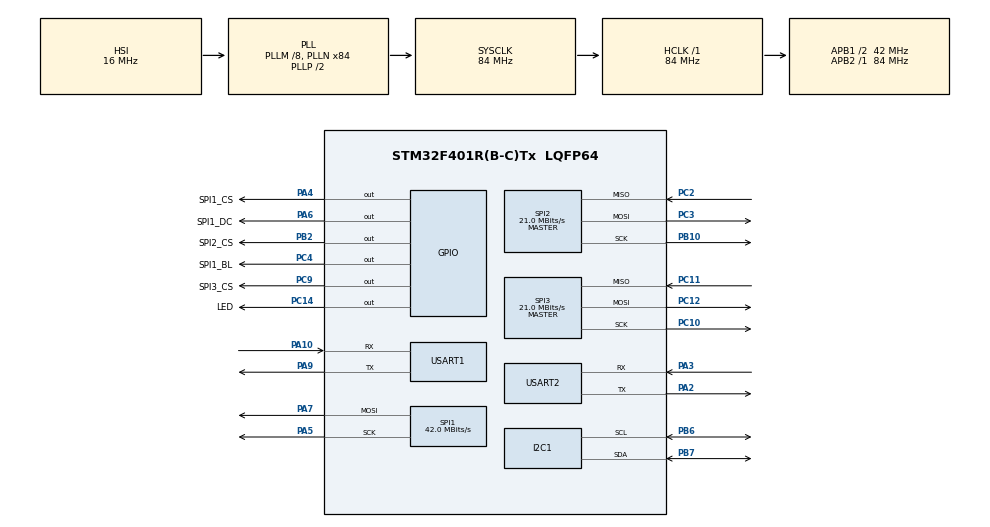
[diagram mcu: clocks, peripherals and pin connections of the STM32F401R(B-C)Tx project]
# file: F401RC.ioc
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Dma.I2C1_TX.2.Direction=DMA_MEMORY_TO_PERIPH
Dma.I2C1_TX.2.FIFOMode=DMA_FIFOMODE_DISABLE
Dma.I2C1_TX.2.Instance=DMA1_Stream6
Dma.I2C1_TX.2.MemDataAlignment=DMA_MDATAALIGN_BYTE
Dma.I2C1_TX.2.MemInc=DMA_MINC_ENABLE
Dma.I2C1_TX.2.Mode=DMA_NORMAL
Dma.I2C1_TX.2.PeriphDataAlignment=DMA_PDATAALIGN_BYTE
Dma.I2C1_TX.2.PeriphInc=DMA_PINC_DISABLE
Dma.I2C1_TX.2.Priority=DMA_PRIORITY_LOW
Dma.Request0=USART2_RX
Dma.Request1=USART1_TX
Dma.Request2=I2C1_TX
Dma.Request3=SPI1_TX
Dma.Request4=SPI3_RX
Dma.Request5=SPI3_TX
Dma.SPI1_TX.3.Direction=DMA_MEMORY_TO_PERIPH
Dma.SPI1_TX.3.FIFOMode=DMA_FIFOMODE_DISABLE
Dma.SPI1_TX.3.Instance=DMA2_Stream3
Dma.SPI1_TX.3.MemDataAlignment=DMA_MDATAALIGN_BYTE
Dma.SPI1_TX.3.MemInc=DMA_MINC_ENABLE
Dma.SPI1_TX.3.Mode=DMA_NORMAL
Dma.SPI1_TX.3.PeriphDataAlignment=DMA_PDATAALIGN_BYTE
Dma.SPI1_TX.3.PeriphInc=DMA_PINC_DISABLE
Dma.SPI1_TX.3.Priority=DMA_PRIORITY_LOW
Dma.SPI3_RX.4.Direction=DMA_PERIPH_TO_MEMORY
Dma.SPI3_RX.4.FIFOMode=DMA_FIFOMODE_DISABLE
Dma.SPI3_RX.4.Instance=DMA1_Stream0
Dma.SPI3_RX.4.MemDataAlignment=DMA_MDATAALIGN_BYTE
Dma.SPI3_RX.4.MemInc=DMA_MINC_ENABLE
Dma.SPI3_RX.4.Mode=DMA_NORMAL
Dma.SPI3_RX.4.PeriphDataAlignment=DMA_PDATAALIGN_BYTE
Dma.SPI3_RX.4.PeriphInc=DMA_PINC_DISABLE
Dma.SPI3_RX.4.Priority=DMA_PRIORITY_LOW
Dma.SPI3_TX.5.Direction=DMA_MEMORY_TO_PERIPH
Dma.SPI3_TX.5.FIFOMode=DMA_FIFOMODE_DISABLE
Dma.SPI3_TX.5.Instance=DMA1_Stream7
Dma.SPI3_TX.5.MemDataAlignment=DMA_MDATAALIGN_BYTE
Dma.SPI3_TX.5.MemInc=DMA_MINC_ENABLE
Dma.SPI3_TX.5.Mode=DMA_NORMAL
Dma.SPI3_TX.5.PeriphDataAlignment=DMA_PDATAALIGN_BYTE
Dma.SPI3_TX.5.PeriphInc=DMA_PINC_DISABLE
Dma.SPI3_TX.5.Priority=DMA_PRIORITY_LOW
Dma.USART1_TX.1.Direction=DMA_MEMORY_TO_PERIPH
Dma.USART1_TX.1.FIFOMode=DMA_FIFOMODE_DISABLE
Dma.USART1_TX.1.Instance=DMA2_Stream7
Dma.USART1_TX.1.MemDataAlignment=DMA_MDATAALIGN_BYTE
Dma.USART1_TX.1.MemInc=DMA_MINC_ENABLE
Dma.USART1_TX.1.Mode=DMA_NORMAL
Dma.USART1_TX.1.PeriphDataAlignment=DMA_PDATAALIGN_BYTE
Dma.USART1_TX.1.PeriphInc=DMA_PINC_DISABLE
Dma.USART1_TX.1.Priority=DMA_PRIORITY_LOW
Dma.USART2_RX.0.Direction=DMA_PERIPH_TO_MEMORY
Dma.USART2_RX.0.FIFOMode=DMA_FIFOMODE_DISABLE
Dma.USART2_RX.0.Instance=DMA1_Stream5
Dma.USART2_RX.0.MemDataAlignment=DMA_MDATAALIGN_BYTE
Dma.USART2_RX.0.MemInc=DMA_MINC_ENABLE
Dma.USART2_RX.0.Mode=DMA_NORMAL
Dma.USART2_RX.0.PeriphDataAlignment=DMA_PDATAALIGN_BYTE
Dma.USART2_RX.0.PeriphInc=DMA_PINC_DISABLE
Dma.USART2_RX.0.Priority=DMA_PRIORITY_LOW
Mcu.Family=STM32F4
Mcu.Name=STM32F401R(B-C)Tx
Mcu.Package=LQFP64
NVIC.DMA1_Stream0_IRQn=true\:0\:0\:false\:false\:true\:false\:true\:true
NVIC.DMA1_Stream5_IRQn=true\:0\:0\:false\:false\:true\:false\:true\:true
NVIC.DMA1_Stream6_IRQn=true\:0\:0\:false\:false\:true\:false\:true\:true
NVIC.DMA1_Stream7_IRQn=true\:0\:0\:false\:false\:true\:false\:true\:true
NVIC.DMA2_Stream3_IRQn=true\:0\:0\:false\:false\:true\:false\:true\:true
NVIC.DMA2_Stream7_IRQn=true\:0\:0\:false\:false\:true\:false\:true\:true
NVIC.I2C1_EV_IRQn=true\:0\:0\:false\:false\:true\:true\:true\:true
NVIC.PriorityGroup=NVIC_PRIORITYGROUP_4
NVIC.SPI1_IRQn=true\:0\:0\:false\:false\:true\:true\:true\:true
NVIC.TIM1_TRG_COM_TIM11_IRQn=true\:0\:0\:false\:false\:true\:true\:true\:true
NVIC.USART1_IRQn=true\:1\:0\:true\:false\:true\:true\:true\:true
NVIC.USART2_IRQn=true\:0\:0\:false\:false\:true\:true\:true\:true
PA10.Mode=Asynchronous
PA10.Signal=USART1_RX
PA13.Mode=Serial_Wire
PA13.Signal=SYS_JTMS-SWDIO
PA14.Mode=Serial_Wire
PA14.Signal=SYS_JTCK-SWCLK
PA2.Mode=Asynchronous
PA2.Signal=USART2_TX
PA3.Mode=Asynchronous
PA3.Signal=USART2_RX
PA4.GPIO_Label=SPI1_CS
PA4.GPIO_PuPd=GPIO_PULLUP
PA4.GPIO_Speed=GPIO_SPEED_FREQ_VERY_HIGH
PA4.PinState=GPIO_PIN_SET
PA4.Signal=GPIO_Output
PA5.Mode=TX_Only_Simplex_Unidirect_Master
PA5.Signal=SPI1_SCK
PA6.GPIO_Label=SPI1_DC
PA6.GPIO_PuPd=GPIO_PULLUP
PA6.GPIO_Speed=GPIO_SPEED_FREQ_VERY_HIGH
PA6.PinState=GPIO_PIN_SET
PA6.Signal=GPIO_Output
PA7.Mode=TX_Only_Simplex_Unidirect_Master
PA7.Signal=SPI1_MOSI
PA9.Mode=Asynchronous
PA9.Signal=USART1_TX
PB10.Mode=Full_Duplex_Master
PB10.Signal=SPI2_SCK
PB2.GPIO_Label=SPI2_CS
PB2.GPIO_PuPd=GPIO_PULLUP
PB2.GPIO_Speed=GPIO_SPEED_FREQ_HIGH
PB2.PinState=GPIO_PIN_SET
PB2.Signal=GPIO_Output
PB6.Mode=I2C
PB6.Signal=I2C1_SCL
PB7.Mode=I2C
PB7.Signal=I2C1_SDA
PC10.Mode=Full_Duplex_Master
PC10.Signal=SPI3_SCK
PC11.Mode=Full_Duplex_Master
PC11.Signal=SPI3_MISO
PC12.Mode=Full_Duplex_Master
PC12.Signal=SPI3_MOSI
PC14-OSC32_IN.GPIO_Label=LED
PC14-OSC32_IN.GPIO_PuPd=GPIO_PULLUP
PC14-OSC32_IN.PinState=GPIO_PIN_RESET
PC14-OSC32_IN.Signal=GPIO_Output
PC2.Mode=Full_Duplex_Master
PC2.Signal=SPI2_MISO
PC3.Mode=Full_Duplex_Master
PC3.Signal=SPI2_MOSI
PC4.GPIO_Label=SPI1_BL
PC4.GPIO_PuPd=GPIO_PULLUP
PC4.GPIO_Speed=GPIO_SPEED_FREQ_VERY_HIGH
PC4.PinState=GPIO_PIN_SET
PC4.Signal=GPIO_Output
PC9.GPIO_Label=SPI3_CS
PC9.GPIO_PuPd=GPIO_PULLUP
PC9.GPIO_Speed=GPIO_SPEED_FREQ_HIGH
PC9.PinState=GPIO_PIN_SET
PC9.Signal=GPIO_Output
ProjectManager.HeapSize=0x2000
ProjectManager.StackSize=0x4000
ProjectManager.TargetToolchain=MDK-ARM V5.32
RCC.48MHZClocksFreq_Value=42000000
RCC.AHBFreq_Value=84000000
RCC.APB1CLKDivider=RCC_HCLK_DIV2
RCC.APB1Freq_Value=42000000
RCC.APB1TimFreq_Value=84000000
RCC.APB2Freq_Value=84000000
RCC.APB2TimFreq_Value=84000000
RCC.CortexFreq_Value=84000000
RCC.HCLKFreq_Value=84000000
RCC.HSE_VALUE=25000000
RCC.HSI_VALUE=16000000
RCC.LSE_VALUE=32768
RCC.PLLM=8
RCC.PLLN=84
RCC.SYSCLKFreq_VALUE=84000000
RCC.SYSCLKSource=RCC_SYSCLKSOURCE_PLLCLK
RCC.VCOOutputFreq_Value=168000000
SPI1.BaudRatePrescaler=SPI_BAUDRATEPRESCALER_2
SPI1.CalculateBaudRate=42.0 MBits/s
SPI1.Direction=SPI_DIRECTION_2LINES
SPI1.Mode=SPI_MODE_MASTER
SPI1.VirtualType=VM_MASTER
SPI2.BaudRatePrescaler=SPI_BAUDRATEPRESCALER_2
SPI2.CalculateBaudRate=21.0 MBits/s
SPI2.Direction=SPI_DIRECTION_2LINES
SPI2.Mode=SPI_MODE_MASTER
SPI2.VirtualType=VM_MASTER
SPI3.CalculateBaudRate=21.0 MBits/s
SPI3.Direction=SPI_DIRECTION_2LINES
SPI3.Mode=SPI_MODE_MASTER
SPI3.VirtualType=VM_MASTER
TIM11.AutoReloadPreload=TIM_AUTORELOAD_PRELOAD_ENABLE
TIM11.Period=10-1
TIM11.Prescaler=8400-1
USART1.VirtualMode=VM_ASYNC
USART2.VirtualMode=VM_ASYNC
VP_TIM11_VS_ClockSourceINT.Mode=Enable_Timer
board=custom

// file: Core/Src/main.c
/* USER CODE BEGIN Header */
/**
 ******************************************************************************
 * @file           : main.c
 * @brief          : Main program body
 ******************************************************************************
 * @attention
 *
 * Copyright (c) 2025 STMicroelectronics.
 * All rights reserved.
 *
 * This software is licensed under terms that can be found in the LICENSE file
 * in the root directory of this software component.
 * If no LICENSE file comes with this software, it is provided AS-IS.
 *
 ******************************************************************************
 */
/* USER CODE END Header */
#include "main.h"
#include "dma.h"
#include "i2c.h"
#include "spi.h"
#include "tim.h"
#include "usart.h"
#include "gpio.h"

/* USER CODE BEGIN Includes */
#include <stdio.h>
#include "Usart_Idel_Config.h"
#include "W25Qxx.h"
//#include "ssd1306.h"
#include "st7789.h"
#include "multi_button.h"

/* USER CODE END Includes */

/* USER CODE BEGIN PTD */
//内存
//$K\keil5_disp_size_bar.exe
/* USER CODE END PTD */

/* USER CODE BEGIN PD */
//extern const unsigned char gImage_image[153608];
/* USER CODE END PD */

void SystemClock_Config(void);

/* USER CODE BEGIN 0 */

#define len 512
uint8_t temp[len]={0};
void W25Q32_Show_On_LCD_DMA(uint16_t x, uint16_t y, uint16_t w, uint16_t h, uint32_t Address)
{
    Address=Address+8;
    uint32_t current_addr = Address;

    uint32_t total_bytes = w * h * 2;  // RGB565格式总字节数
    uint32_t remaining = total_bytes;

    ST7789_SetAddressWindow(x, y, x + w-1, y + h-1);

    HAL_GPIO_WritePin(ST7789_CS_PORT, ST7789_CS_PIN, GPIO_PIN_RESET);
    HAL_GPIO_WritePin(ST7789_DC_PORT, ST7789_DC_PIN, GPIO_PIN_SET);

    W25Qxx_CS_Low();
    W25Qxx_SPI_RW_Byte(0x03); // 发送读取命令

    if (W25Qxx_Address_Len == 32)
        W25Qxx_SPI_RW_Byte((Address & 0xFF000000) >> 24); // 32位地址处理

    W25Qxx_SPI_RW_Byte((Address & 0x00FF0000) >> 16); // 发送地址高位
    W25Qxx_SPI_RW_Byte((Address & 0x0000FF00) >> 8);  // 发送地址中位
    W25Qxx_SPI_RW_Byte((Address & 0x000000FF) >> 0);  // 发送地址低位

    while (remaining > 0)
    {
        dma_recv_complete = 0;
        uint16_t read_size = (remaining > len) ? len : remaining;
        HAL_SPI_Receive_DMA(&hspi3,temp,read_size);
        // 等待DMA传输完成
        while (!dma_recv_complete);
        dma_recv_complete = 0;

        //ST7789_Write_Datas(temp, read_size);

        dma_transfer_complete = 0;
        HAL_SPI_Transmit_DMA(&ST7789_SPI_PORT, temp, read_size);

        // 等待DMA传输完成
        while (!dma_transfer_complete);
        dma_transfer_complete = 0;

        // 更新地址和剩余长度
        current_addr += read_size;
        remaining -= read_size;

    }

    W25Qxx_CS_Hight();
    HAL_GPIO_WritePin(ST7789_CS_PORT, ST7789_CS_PIN, GPIO_PIN_SET);
}

/**
 * @brief 从W25Q32读取指定区域数据并显示到ST7789 LCD指定位置
 * @param x: LCD显示起始X坐标
 * @param y: LCD显示起始Y坐标
 * @param w: 显示宽度
 * @param h: 显示高度
 * @param addr: W25Q32数据起始地址
 * @note RGB565格式(2字节/像素),每次读取256字节(128像素)
 */
void W25Q32_Show_On_LCD(uint16_t x, uint16_t y, uint16_t w, uint16_t h, uint32_t addr)
{
  #define  READ_SIZE 256
    uint8_t read_buf[READ_SIZE];
    uint32_t total_bytes = w * h * 2;  // RGB565格式总字节数
    uint32_t remaining = total_bytes;
    addr=addr+8;
    uint32_t current_addr = addr;

    // 参数有效性检查
    if (w == 0 || h == 0 ||
        x + w > ST7789_WIDTH ||
        y + h > ST7789_HEIGHT ||
        current_addr + total_bytes > 0x400000)  // W25Q32总容量4MB
        return;

    // 设置LCD显示窗口
    ST7789_SetAddressWindow(x, y, x + w - 1, y + h - 1);

    while (remaining > 0)
    {
        uint16_t read_size = (remaining > READ_SIZE) ? READ_SIZE : remaining;

        // 从W25Q32读取数据
        W25Qxx_Read_Data_P256(current_addr, read_buf, read_size);

        // DMA传输到LCD
        ST7789_Write_Datas(read_buf, read_size);

        // 更新地址和剩余长度
        current_addr += read_size;
        remaining -= read_size;

        // 等待DMA传输完成
        while (!dma_transfer_complete);
        dma_transfer_complete = 0;
    }
}

/* USER CODE END 0 */

int main(void)
{

  /* MCU Configuration--------------------------------------------------------*/

  /* Reset of all peripherals, Initializes the Flash interface and the Systick. */
  HAL_Init();

  /* Configure the system clock */
  SystemClock_Config();

  /* Initialize all configured peripherals */
  MX_GPIO_Init();
  MX_DMA_Init();
  MX_USART1_UART_Init();
  MX_USART2_UART_Init();
  MX_I2C1_Init();
  MX_SPI2_Init();
  MX_SPI3_Init();
  MX_SPI1_Init();
  MX_TIM11_Init();
  /* USER CODE BEGIN 2 */
  Usart2_Idel_Config();
  HAL_TIM_Base_Start_IT(&htim11);

//    ssd1306_Init();
//    ssd1306_FlipScreenVertically();
//    ssd1306_Clear();
//    ssd1306_SetColor(White);
//
//    ssd1306_SetCursor(0, 0);
//    ssd1306_WriteString("HELLO", Font_16x26);
//    ssd1306_UpdateScreen();

//  W25Qxx_Sector_Erase(0x000000);
//  W25Qxx_Wait_Free();
//  for(uint16_t i=0;i<256;i++)
//        p[i]=i;
//
//  W25Qxx_Write_Page(0x000000,p,256);
//  W25Qxx_Wait_Free();
//  W25Qxx_Write_Page(0x000100,p,256);
//  W25Qxx_Wait_Free();
//
//   W25Qxx_Print_Sector(0x5C000);
//  printf_DMA("id:%x\r\n",W25Qxx_Read_ID());

    ST7789_Init();

    uint32_t cnt=0;
    printf_DMA("Star\r\n");

//    //Recv_Count = 153608 Last_Addr = 25808
//    W25Q32_Show_On_LCD(0,0,320,240,0x0);
//      W25Q32_Show_On_LCD_DMA(0,0,320,240,0x0);
//      HAL_Delay(2000);
//
//    //Recv_Count = 85928 Last_Addr = 3afa8
//    W25Q32_Show_On_LCD(0,0,179,240,0x26000);
//      W25Q32_Show_On_LCD_DMA(0,0,179,240,0x26000);
//      HAL_Delay(2000);
//
//    //Recv_Count = 131208 Last_Addr = 5b088
//    W25Q32_Show_On_LCD(0,0,320,205,0x3b000);
//      W25Q32_Show_On_LCD_DMA(0,0,320,205,0x3B000);

    //if(!HAL_GPIO_ReadPin(GPIOB, GPIO_PIN_15))
    //Usart_to_W25q32();
    KEY_Init();

   //ST7789_DrawImage(0,0,320,240,gImage_image);
    ST7789_FillRect(0,0,320,100,0X0400);
    ST7789_FillRect(0,100,320,200,0X04f0);

  /* USER CODE END 2 */

  /* Infinite loop */
	while (1)
	{

    /* USER CODE BEGIN 3 */

        HAL_Delay(1);

        cnt++;
        if(cnt%5==0)
        {
            test();
        }
        if(cnt%200==0)
        {
            HAL_GPIO_TogglePin(GPIOC,GPIO_PIN_14);
            cnt=0;
        }

	}
  /* USER CODE END 3 */
}

void SystemClock_Config(void)
{
  RCC_OscInitTypeDef RCC_OscInitStruct = {0};
  RCC_ClkInitTypeDef RCC_ClkInitStruct = {0};

  /** Configure the main internal regulator output voltage
  */
  __HAL_RCC_PWR_CLK_ENABLE();
  __HAL_PWR_VOLTAGESCALING_CONFIG(PWR_REGULATOR_VOLTAGE_SCALE2);

  /** Initializes the RCC Oscillators according to the specified parameters
  * in the RCC_OscInitTypeDef structure.
  */
  RCC_OscInitStruct.OscillatorType = RCC_OSCILLATORTYPE_HSI;
  RCC_OscInitStruct.HSIState = RCC_HSI_ON;
  RCC_OscInitStruct.HSICalibrationValue = RCC_HSICALIBRATION_DEFAULT;
  RCC_OscInitStruct.PLL.PLLState = RCC_PLL_ON;
  RCC_OscInitStruct.PLL.PLLSource = RCC_PLLSOURCE_HSI;
  RCC_OscInitStruct.PLL.PLLM = 8;
  RCC_OscInitStruct.PLL.PLLN = 84;
  RCC_OscInitStruct.PLL.PLLP = RCC_PLLP_DIV2;
  RCC_OscInitStruct.PLL.PLLQ = 4;
  if (HAL_RCC_OscConfig(&RCC_OscInitStruct) != HAL_OK)
  {
    Error_Handler();
  }

  /** Initializes the CPU, AHB and APB buses clocks
  */
  RCC_ClkInitStruct.ClockType = RCC_CLOCKTYPE_HCLK|RCC_CLOCKTYPE_SYSCLK
                              |RCC_CLOCKTYPE_PCLK1|RCC_CLOCKTYPE_PCLK2;
  RCC_ClkInitStruct.SYSCLKSource = RCC_SYSCLKSOURCE_PLLCLK;
  RCC_ClkInitStruct.AHBCLKDivider = RCC_SYSCLK_DIV1;
  RCC_ClkInitStruct.APB1CLKDivider = RCC_HCLK_DIV2;
  RCC_ClkInitStruct.APB2CLKDivider = RCC_HCLK_DIV1;

  if (HAL_RCC_ClockConfig(&RCC_ClkInitStruct, FLASH_LATENCY_2) != HAL_OK)
  {
    Error_Handler();
  }
}

void Error_Handler(void)
{
	__disable_irq();
	while (1)
	{
	}
}
